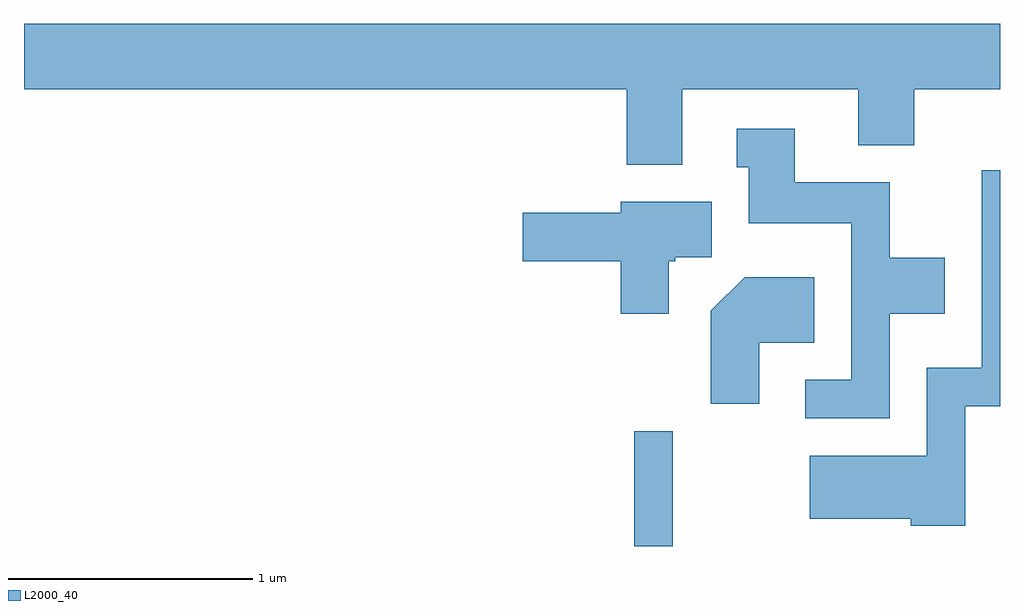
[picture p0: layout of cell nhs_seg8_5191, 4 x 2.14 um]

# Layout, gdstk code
import gdstk
lib = gdstk.Library(unit=1e-6, precision=1e-09)
def R(c, l, rs):  # rectangles x0, y0, x1, y1
    for r in rs: c.add(gdstk.rectangle(r[:2], r[2:], *l))
def P(c, l, *ps):  # polygons
    for p in ps: c.add(gdstk.Polygon(p, *l))
L2000_40 = (2000, 40)

nhs_seg8_5191 = lib.new_cell('nhs_seg8_5191')
R(nhs_seg8_5191, L2000_40, [(344.111,1812.342,344.269,1812.813)])
P(nhs_seg8_5191, L2000_40, [(344.309,1814.216),(345.031,1814.216),(345.031,1813.986),(345.259,1813.986),(345.259,1814.216),(345.611,1814.216),(345.611,1814.484),(341.611,1814.484),(341.611,1814.216),(344.081,1814.216),(344.081,1813.906),(344.309,1813.906)],
  [(345.159,1813.296),(345.384,1813.296),(345.384,1813.524),(345.159,1813.524),(345.159,1813.834),(344.769,1813.834),(344.769,1814.054),(344.533,1814.054),(344.533,1813.896),(344.581,1813.896),(344.581,1813.666),(345.001,1813.666),(345.001,1813.024),(344.813,1813.024),(344.813,1812.866),(345.159,1812.866)],
  [(345.469,1812.916),(345.611,1812.916),(345.611,1813.884),(345.536,1813.884),(345.536,1813.074),(345.311,1813.074),(345.311,1812.714),(344.831,1812.714),(344.831,1812.456),(345.246,1812.456),(345.246,1812.426),(345.469,1812.426)],
  [(344.254,1813.511),(344.28,1813.511),(344.28,1813.526),(344.429,1813.526),(344.429,1813.754),(344.056,1813.754),(344.056,1813.709),(343.656,1813.709),(343.656,1813.511),(344.056,1813.511),(344.056,1813.296),(344.254,1813.296)],
  [(344.624,1813.176),(344.849,1813.176),(344.849,1813.444),(344.564,1813.444),(344.426,1813.307),(344.426,1812.926),(344.624,1812.926)])

lib.write_gds('nhs_seg8_5191.gds')
